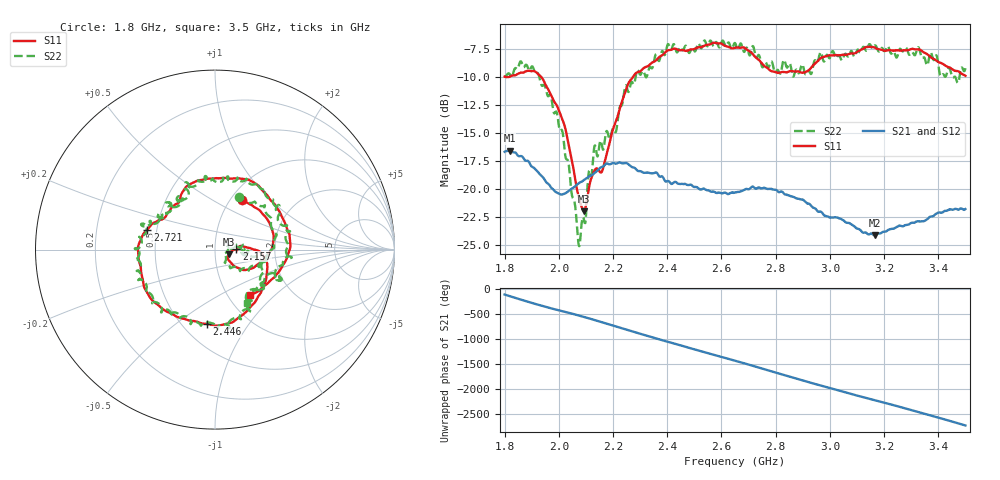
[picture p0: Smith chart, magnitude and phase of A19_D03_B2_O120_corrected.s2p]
! Created with skrf 1.9.0 (http://scikit-rf.org).
# Hz S RI R 50.0
!freq ReS11 ImS11 ReS21 ImS21 ReS12 ImS12 ReS22 ImS22
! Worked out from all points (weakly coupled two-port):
!   1601 points, 1.8 GHz to 3.5 GHz, reference 50 ohm
!   highest |S21| = -16.56 dB at 1.818 GHz (marker M1); lowest = -24.1 dB at 3.165 GHz (marker M2)
!   lowest |S11| = -22.0 dB at 2.092 GHz (marker M3), VSWR 1.17, Z = 58.1 - j2.99 ohm
!   |S11| at or under -10 dB: 1.807175 GHz to 1.813095 GHz (5.92 MHz wide, 0.327 % of centre); 1.936 GHz to 2.273 GHz (337.5 MHz wide, 16 % of centre)
!   |S22| runs from -25.1 to -6.7 dB; largest |S21 - S12| = 0.0026
!   S11 on the Smith chart (normalised r, x): 1.8 GHz: 1.13, +0.70; 2.157 GHz: 1.27, +0.01; 2.446 GHz: 0.65, -0.65; 2.721 GHz: 0.44, +0.12; 3.5 GHz: 1.26, -0.71
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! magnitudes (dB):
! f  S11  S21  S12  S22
! 1.8 GHz  -10.0  -16.7  -16.7  -9.8
! 1.818 GHz  -10.0  -16.6  -16.6  -9.7
! 1.903 GHz  -9.5  -18.0  -18.0  -9.1
! 1.968 GHz  -11.4  -19.7  -19.8  -11.6
! 2.015 GHz  -13.9  -20.5  -20.5  -15.0
! 2.072 GHz  -20.6  -19.5  -19.6  -24.8
! 2.084 GHz  -21.6  -19.4  -19.3  -23.2
! 2.092 GHz  -22.0  -19.2  -19.3  -22.7
! 2.13 GHz  -18.4  -18.6  -18.6  -16.3
! 2.157 GHz  -18.5  -18.0  -18.0  -15.9
! 2.209 GHz  -14.0  -17.7  -17.7  -14.9
! 2.258 GHz  -10.5  -17.8  -17.8  -11.3
! 2.367 GHz  -8.3  -18.8  -18.7  -8.5
! 2.446 GHz  -7.6  -19.5  -19.5  -7.3
! 2.65 GHz  -7.4  -20.3  -20.3  -6.9
! 2.721 GHz  -8.1  -19.9  -19.8  -7.6
! 2.803 GHz  -9.6  -20.1  -20.1  -9.5
! 2.934 GHz  -9.1  -21.6  -21.5  -9.6
! 3.165 GHz  -7.4  -24.1  -24.1  -7.2
! 3.217 GHz  -7.6  -23.6  -23.6  -7.4
! 3.468 GHz  -9.4  -21.8  -21.8  -10.4
! 3.5 GHz  -9.9  -21.8  -21.8  -9.2
